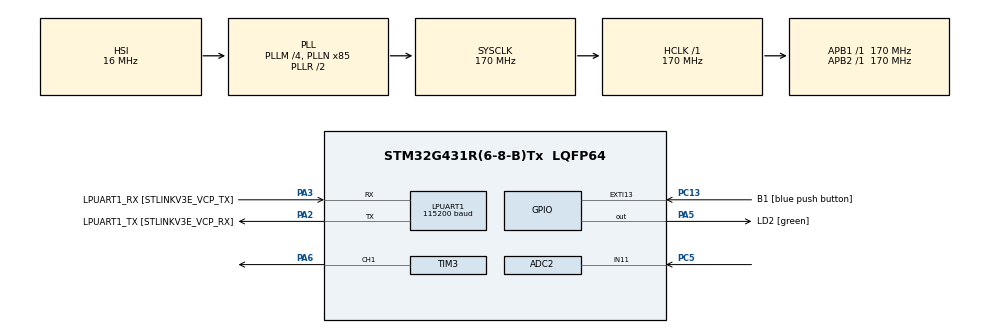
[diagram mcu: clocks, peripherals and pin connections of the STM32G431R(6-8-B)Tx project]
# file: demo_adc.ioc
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ADC2.Channel-3\#ChannelRegularConversion=ADC_CHANNEL_11
ADC2.ClockPrescaler=ADC_CLOCK_ASYNC_DIV16
ADC2.NbrOfConversionFlag=1
ADC2.OffsetNumber-3\#ChannelRegularConversion=ADC_OFFSET_NONE
ADC2.Rank-3\#ChannelRegularConversion=1
ADC2.Resolution=ADC_RESOLUTION_10B
ADC2.SamplingTime-3\#ChannelRegularConversion=ADC_SAMPLETIME_24CYCLES_5
FREERTOS.Tasks01=defaultTask,24,128,StartDefaultTask,Default,NULL,Dynamic,NULL,NULL
FREERTOS.configUSE_NEWLIB_REENTRANT=1
LPUART1.BaudRate=115200
LPUART1.WordLength=UART_WORDLENGTH_8B
Mcu.Family=STM32G4
Mcu.Name=STM32G431R(6-8-B)Tx
Mcu.Package=LQFP64
NVIC.PriorityGroup=NVIC_PRIORITYGROUP_4
NVIC.TIM6_DAC_IRQn=true\:15\:0\:false\:false\:true\:false\:false\:true
NVIC.TimeBase=TIM6_DAC_IRQn
NVIC.TimeBaseIP=TIM6
PA13.GPIO_Label=T_SWDIO
PA13.Mode=Serial_Wire
PA13.Signal=SYS_JTMS-SWDIO
PA14.GPIO_Label=T_SWCLK
PA14.Mode=Serial_Wire
PA14.Signal=SYS_JTCK-SWCLK
PA2.GPIO_Label=LPUART1_TX [STLINKV3E_VCP_RX]
PA2.Mode=Asynchronous
PA2.Signal=LPUART1_TX
PA3.GPIO_Label=LPUART1_RX [STLINKV3E_VCP_TX]
PA3.Mode=Asynchronous
PA3.Signal=LPUART1_RX
PA5.GPIO_Label=LD2 [green]
PA5.Signal=GPIO_Output
PA6.Signal=S_TIM3_CH1
PB3.GPIO_Label=T_SWO
PB3.Signal=SYS_JTDO-SWO
PC13.GPIO_Label=B1 [blue push button]
PC13.Signal=GPXTI13
PC14-OSC32_IN.Mode=LSE-External-Oscillator
PC14-OSC32_IN.Signal=RCC_OSC32_IN
PC15-OSC32_OUT.Mode=LSE-External-Oscillator
PC15-OSC32_OUT.Signal=RCC_OSC32_OUT
PC5.Mode=IN11-Single-Ended
PC5.Signal=ADC2_IN11
PF0-OSC_IN.Mode=HSE-External-Oscillator
PF0-OSC_IN.Signal=RCC_OSC_IN
PF1-OSC_OUT.Mode=HSE-External-Oscillator
PF1-OSC_OUT.Signal=RCC_OSC_OUT
ProjectManager.HeapSize=0x200
ProjectManager.StackSize=0x400
ProjectManager.TargetToolchain=STM32CubeIDE
RCC.ADC12Freq_Value=170000000
RCC.AHBFreq_Value=170000000
RCC.APB1Freq_Value=170000000
RCC.APB1TimFreq_Value=170000000
RCC.APB2Freq_Value=170000000
RCC.APB2TimFreq_Value=170000000
RCC.CortexFreq_Value=170000000
RCC.EXTERNAL_CLOCK_VALUE=12288000
RCC.HCLKFreq_Value=170000000
RCC.HSE_VALUE=24000000
RCC.HSI48_VALUE=48000000
RCC.HSI_VALUE=16000000
RCC.PLLM=RCC_PLLM_DIV4
RCC.PLLN=85
RCC.RTCClockSelection=RCC_RTCCLKSOURCE_LSE
RCC.SYSCLKFreq_VALUE=170000000
RCC.SYSCLKSource=RCC_SYSCLKSOURCE_PLLCLK
RCC.USBFreq_Value=170000000
RCC.VCOOutputFreq_Value=340000000
SH.S_TIM3_CH1.0=TIM3_CH1,PWM Generation1 CH1
TIM3.Channel-PWM\ Generation1\ CH1=TIM_CHANNEL_1
TIM3.OCFastMode_PWM-PWM\ Generation1\ CH1=TIM_OCFAST_ENABLE
TIM3.PeriodNoDither=100
TIM3.Prescaler=68
VP_FREERTOS_VS_CMSIS_V2.Mode=CMSIS_V2
VP_SYS_VS_DBSignals.Mode=DisableDeadBatterySignals
VP_SYS_VS_tim6.Mode=TIM6
VP_TIM3_VS_ClockSourceINT.Mode=Internal
board=NUCLEO-G431RB

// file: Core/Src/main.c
/* USER CODE BEGIN Header */
/**
  ******************************************************************************
  * @file           : main.c
  * @brief          : Main program body
  ******************************************************************************
  * @attention
  *
  * Copyright (c) 2021 STMicroelectronics.
  * All rights reserved.
  *
  * This software is licensed under terms that can be found in the LICENSE file
  * in the root directory of this software component.
  * If no LICENSE file comes with this software, it is provided AS-IS.
  *
  ******************************************************************************
  */
/* USER CODE END Header */
#include "main.h"
#include "cmsis_os.h"

ADC_HandleTypeDef hadc2;

UART_HandleTypeDef hlpuart1;

TIM_HandleTypeDef htim3;

/* Definitions for defaultTask */
osThreadId_t defaultTaskHandle;
const osThreadAttr_t defaultTask_attributes = {
  .name = "defaultTask",
  .priority = (osPriority_t) osPriorityNormal,
  .stack_size = 128 * 4
};

void SystemClock_Config(void);
static void MX_GPIO_Init(void);
static void MX_LPUART1_UART_Init(void);
static void MX_TIM3_Init(void);
static void MX_ADC2_Init(void);
void StartDefaultTask(void *argument);

int main(void)
{

  /* MCU Configuration--------------------------------------------------------*/

  /* Reset of all peripherals, Initializes the Flash interface and the Systick. */
  HAL_Init();

  /* Configure the system clock */
  SystemClock_Config();

  /* Initialize all configured peripherals */
  MX_GPIO_Init();
  MX_LPUART1_UART_Init();
  MX_TIM3_Init();
  MX_ADC2_Init();
  /* USER CODE BEGIN 2 */
  HAL_TIM_PWM_Start(&htim3,TIM_CHANNEL_1);
  HAL_ADCEx_Calibration_Start(&hadc2,ADC_SINGLE_ENDED);

  /* USER CODE END 2 */

  /* Init scheduler */
  osKernelInitialize();

  /* Create the thread(s) */
  /* creation of defaultTask */
  defaultTaskHandle = osThreadNew(StartDefaultTask, NULL, &defaultTask_attributes);

  /* Start scheduler */
  osKernelStart();

  /* We should never get here as control is now taken by the scheduler */
  /* Infinite loop */
  while (1)
  {

  }
}

void SystemClock_Config(void)
{
  RCC_OscInitTypeDef RCC_OscInitStruct = {0};
  RCC_ClkInitTypeDef RCC_ClkInitStruct = {0};

  /** Configure the main internal regulator output voltage
  */
  HAL_PWREx_ControlVoltageScaling(PWR_REGULATOR_VOLTAGE_SCALE1_BOOST);
  /** Initializes the RCC Oscillators according to the specified parameters
  * in the RCC_OscInitTypeDef structure.
  */
  RCC_OscInitStruct.OscillatorType = RCC_OSCILLATORTYPE_HSI;
  RCC_OscInitStruct.HSIState = RCC_HSI_ON;
  RCC_OscInitStruct.HSICalibrationValue = RCC_HSICALIBRATION_DEFAULT;
  RCC_OscInitStruct.PLL.PLLState = RCC_PLL_ON;
  RCC_OscInitStruct.PLL.PLLSource = RCC_PLLSOURCE_HSI;
  RCC_OscInitStruct.PLL.PLLM = RCC_PLLM_DIV4;
  RCC_OscInitStruct.PLL.PLLN = 85;
  RCC_OscInitStruct.PLL.PLLP = RCC_PLLP_DIV2;
  RCC_OscInitStruct.PLL.PLLQ = RCC_PLLQ_DIV2;
  RCC_OscInitStruct.PLL.PLLR = RCC_PLLR_DIV2;
  if (HAL_RCC_OscConfig(&RCC_OscInitStruct) != HAL_OK)
  {
    Error_Handler();
  }
  /** Initializes the CPU, AHB and APB buses clocks
  */
  RCC_ClkInitStruct.ClockType = RCC_CLOCKTYPE_HCLK|RCC_CLOCKTYPE_SYSCLK
                              |RCC_CLOCKTYPE_PCLK1|RCC_CLOCKTYPE_PCLK2;
  RCC_ClkInitStruct.SYSCLKSource = RCC_SYSCLKSOURCE_PLLCLK;
  RCC_ClkInitStruct.AHBCLKDivider = RCC_SYSCLK_DIV1;
  RCC_ClkInitStruct.APB1CLKDivider = RCC_HCLK_DIV1;
  RCC_ClkInitStruct.APB2CLKDivider = RCC_HCLK_DIV1;

  if (HAL_RCC_ClockConfig(&RCC_ClkInitStruct, FLASH_LATENCY_4) != HAL_OK)
  {
    Error_Handler();
  }
}

static void MX_ADC2_Init(void)
{

  ADC_ChannelConfTypeDef sConfig = {0};

  /** Common config
  */
  hadc2.Instance = ADC2;
  hadc2.Init.ClockPrescaler = ADC_CLOCK_ASYNC_DIV16;
  hadc2.Init.Resolution = ADC_RESOLUTION_10B;
  hadc2.Init.DataAlign = ADC_DATAALIGN_RIGHT;
  hadc2.Init.GainCompensation = 0;
  hadc2.Init.ScanConvMode = ADC_SCAN_DISABLE;
  hadc2.Init.EOCSelection = ADC_EOC_SINGLE_CONV;
  hadc2.Init.LowPowerAutoWait = DISABLE;
  hadc2.Init.ContinuousConvMode = DISABLE;
  hadc2.Init.NbrOfConversion = 1;
  hadc2.Init.DiscontinuousConvMode = DISABLE;
  hadc2.Init.ExternalTrigConv = ADC_SOFTWARE_START;
  hadc2.Init.ExternalTrigConvEdge = ADC_EXTERNALTRIGCONVEDGE_NONE;
  hadc2.Init.DMAContinuousRequests = DISABLE;
  hadc2.Init.Overrun = ADC_OVR_DATA_PRESERVED;
  hadc2.Init.OversamplingMode = DISABLE;
  if (HAL_ADC_Init(&hadc2) != HAL_OK)
  {
    Error_Handler();
  }
  /** Configure Regular Channel
  */
  sConfig.Channel = ADC_CHANNEL_11;
  sConfig.Rank = ADC_REGULAR_RANK_1;
  sConfig.SamplingTime = ADC_SAMPLETIME_24CYCLES_5;
  sConfig.SingleDiff = ADC_SINGLE_ENDED;
  sConfig.OffsetNumber = ADC_OFFSET_NONE;
  sConfig.Offset = 0;
  if (HAL_ADC_ConfigChannel(&hadc2, &sConfig) != HAL_OK)
  {
    Error_Handler();
  }

}

static void MX_LPUART1_UART_Init(void)
{

  hlpuart1.Instance = LPUART1;
  hlpuart1.Init.BaudRate = 115200;
  hlpuart1.Init.WordLength = UART_WORDLENGTH_8B;
  hlpuart1.Init.StopBits = UART_STOPBITS_1;
  hlpuart1.Init.Parity = UART_PARITY_NONE;
  hlpuart1.Init.Mode = UART_MODE_TX_RX;
  hlpuart1.Init.HwFlowCtl = UART_HWCONTROL_NONE;
  hlpuart1.Init.OneBitSampling = UART_ONE_BIT_SAMPLE_DISABLE;
  hlpuart1.Init.ClockPrescaler = UART_PRESCALER_DIV1;
  hlpuart1.AdvancedInit.AdvFeatureInit = UART_ADVFEATURE_NO_INIT;
  if (HAL_UART_Init(&hlpuart1) != HAL_OK)
  {
    Error_Handler();
  }
  if (HAL_UARTEx_SetTxFifoThreshold(&hlpuart1, UART_TXFIFO_THRESHOLD_1_8) != HAL_OK)
  {
    Error_Handler();
  }
  if (HAL_UARTEx_SetRxFifoThreshold(&hlpuart1, UART_RXFIFO_THRESHOLD_1_8) != HAL_OK)
  {
    Error_Handler();
  }
  if (HAL_UARTEx_DisableFifoMode(&hlpuart1) != HAL_OK)
  {
    Error_Handler();
  }

}

static void MX_TIM3_Init(void)
{

  TIM_ClockConfigTypeDef sClockSourceConfig = {0};
  TIM_MasterConfigTypeDef sMasterConfig = {0};
  TIM_OC_InitTypeDef sConfigOC = {0};

  htim3.Instance = TIM3;
  htim3.Init.Prescaler = 68;
  htim3.Init.CounterMode = TIM_COUNTERMODE_UP;
  htim3.Init.Period = 100;
  htim3.Init.ClockDivision = TIM_CLOCKDIVISION_DIV1;
  htim3.Init.AutoReloadPreload = TIM_AUTORELOAD_PRELOAD_DISABLE;
  if (HAL_TIM_Base_Init(&htim3) != HAL_OK)
  {
    Error_Handler();
  }
  sClockSourceConfig.ClockSource = TIM_CLOCKSOURCE_INTERNAL;
  if (HAL_TIM_ConfigClockSource(&htim3, &sClockSourceConfig) != HAL_OK)
  {
    Error_Handler();
  }
  if (HAL_TIM_PWM_Init(&htim3) != HAL_OK)
  {
    Error_Handler();
  }
  sMasterConfig.MasterOutputTrigger = TIM_TRGO_RESET;
  sMasterConfig.MasterSlaveMode = TIM_MASTERSLAVEMODE_DISABLE;
  if (HAL_TIMEx_MasterConfigSynchronization(&htim3, &sMasterConfig) != HAL_OK)
  {
    Error_Handler();
  }
  sConfigOC.OCMode = TIM_OCMODE_PWM1;
  sConfigOC.Pulse = 0;
  sConfigOC.OCPolarity = TIM_OCPOLARITY_HIGH;
  sConfigOC.OCFastMode = TIM_OCFAST_ENABLE;
  if (HAL_TIM_PWM_ConfigChannel(&htim3, &sConfigOC, TIM_CHANNEL_1) != HAL_OK)
  {
    Error_Handler();
  }
  HAL_TIM_MspPostInit(&htim3);

}

static void MX_GPIO_Init(void)
{
  GPIO_InitTypeDef GPIO_InitStruct = {0};

  /* GPIO Ports Clock Enable */
  __HAL_RCC_GPIOC_CLK_ENABLE();
  __HAL_RCC_GPIOF_CLK_ENABLE();
  __HAL_RCC_GPIOA_CLK_ENABLE();
  __HAL_RCC_GPIOB_CLK_ENABLE();

  /*Configure GPIO pin Output Level */
  HAL_GPIO_WritePin(LD2_GPIO_Port, LD2_Pin, GPIO_PIN_RESET);

  /*Configure GPIO pin : B1_Pin */
  GPIO_InitStruct.Pin = B1_Pin;
  GPIO_InitStruct.Mode = GPIO_MODE_IT_RISING;
  GPIO_InitStruct.Pull = GPIO_NOPULL;
  HAL_GPIO_Init(B1_GPIO_Port, &GPIO_InitStruct);

  /*Configure GPIO pin : LD2_Pin */
  GPIO_InitStruct.Pin = LD2_Pin;
  GPIO_InitStruct.Mode = GPIO_MODE_OUTPUT_PP;
  GPIO_InitStruct.Pull = GPIO_NOPULL;
  GPIO_InitStruct.Speed = GPIO_SPEED_FREQ_LOW;
  HAL_GPIO_Init(LD2_GPIO_Port, &GPIO_InitStruct);

}

/* USER CODE BEGIN 4 */
char buffer[256];

uint8_t pwm_dir = 0;
uint8_t pwm_plus_value = 0;
void update_pwm_value()
{
  if (pwm_dir == 0){
    pwm_plus_value++;
  }else{
    pwm_plus_value--;
  }
  if (pwm_plus_value >= 100){
    pwm_dir = 1;
  }else if (pwm_plus_value <= 0){
    pwm_dir =0;
  }
  htim3.Instance->CCR1 = (htim3.Init.Period*pwm_plus_value)/100u;

}
/* USER CODE END 4 */

void StartDefaultTask(void *argument)
{
  /* USER CODE BEGIN 5 */
  /* Infinite loop */

  uint16_t adc_res = 0;
  float temperature = 0.0;
  for(;;)
  {

    //HAL_GPIO_TogglePin(GPIOA,GPIO_PIN_6);
    //HAL_GPIO_WritePin(GPIOA,GPIO_PIN_6,GPIO_PIN_RESET);
    update_pwm_value();
    osDelay(5);
    if (pwm_plus_value >= 100){
      HAL_ADC_Start(&hadc2);
      HAL_ADC_PollForConversion(&hadc2,1);
      adc_res = HAL_ADC_GetValue(&hadc2);

      //temperature = adc_res*0.488; //5/1024*100
      temperature = adc_res*0.3225; //3.3/1024*100
      sprintf(buffer,"ADC Result = %d Tempareture = %f\n",adc_res,temperature);
      HAL_UART_Transmit(&hlpuart1,buffer,strlen(buffer)+1,1000);
      osDelay(5);
    }

  }
  /* USER CODE END 5 */
}

void HAL_TIM_PeriodElapsedCallback(TIM_HandleTypeDef *htim)
{
  if (htim->Instance == TIM6) {
    HAL_IncTick();
  }
}

void Error_Handler(void)
{
  __disable_irq();
  while (1)
  {
  }
}
